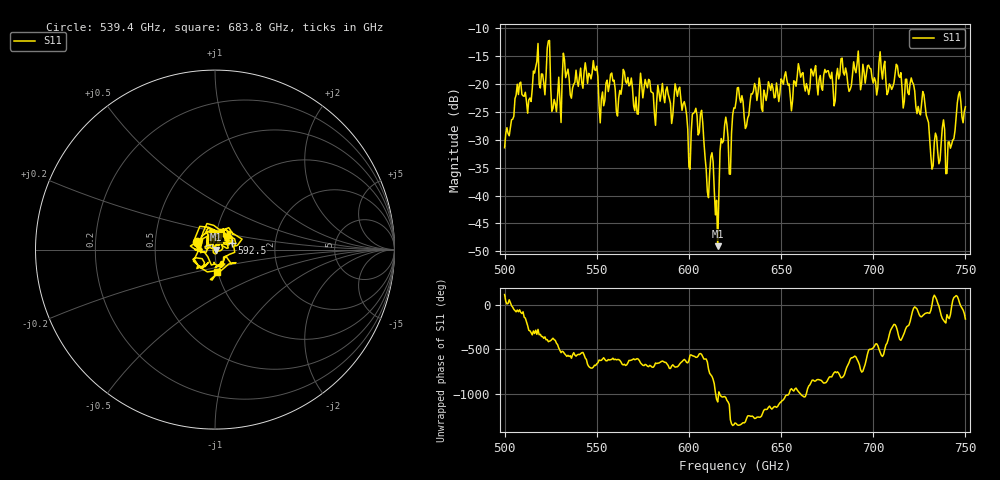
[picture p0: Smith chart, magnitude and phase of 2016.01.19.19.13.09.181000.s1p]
!Created with skrf (http://scikit-rf.org).
# GHz S RI R 50.0
!freq ReS11 ImS11
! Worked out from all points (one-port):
!   401 points, 500 GHz to 750 GHz, reference 50 ohm
!   lowest |S11| = -49.1 dB at 615.6 GHz (marker M1), VSWR 1.01, Z = 50.3 - j0.0558 ohm
!   |S11| at or under -10 dB: start of sweep to end of sweep
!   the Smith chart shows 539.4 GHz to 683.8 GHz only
!   S11 on the Smith chart (normalised r, x): 539.4 GHz: 0.82, +0.07; 592.5 GHz: 1.20, +0.09; 683.8 GHz: 0.99, -0.25
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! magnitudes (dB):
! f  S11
! 500 GHz  -31.4
! 507.5 GHz  -21.9
! 513.8 GHz  -22.5
! 516.9 GHz  -16.9
! 520.6 GHz  -18.3
! 523.8 GHz  -12.3
! 526.9 GHz  -22.8
! 531.2 GHz  -19.0
! 539.4 GHz  -19.5
! 562.5 GHz  -21.2
! 592.5 GHz  -20.0
! 593.8 GHz  -22.2
! 600 GHz  -34.9
! 606.9 GHz  -24.7
! 610 GHz  -39.3
! 615.6 GHz  -49.1
! 618.8 GHz  -30.2
! 622.5 GHz  -36.2
! 625 GHz  -24.4
! 656.2 GHz  -22.9
! 683.8 GHz  -18.0
! 687.5 GHz  -21.0
! 718.8 GHz  -21.5
! 728.1 GHz  -23.8
! 731.9 GHz  -35.3
! 740.6 GHz  -30.4
! 746.2 GHz  -22.0
! 750 GHz  -24.1
